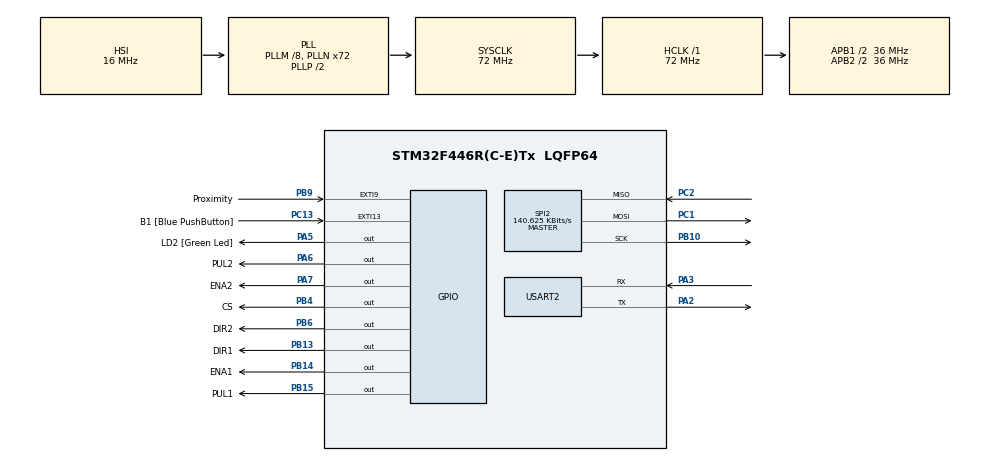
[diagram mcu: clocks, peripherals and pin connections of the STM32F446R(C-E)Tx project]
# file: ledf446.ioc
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Mcu.Family=STM32F4
Mcu.Name=STM32F446R(C-E)Tx
Mcu.Package=LQFP64
NVIC.EXTI9_5_IRQn=true\:0\:0\:false\:false\:true\:true\:true\:true
NVIC.PriorityGroup=NVIC_PRIORITYGROUP_0
PA13.GPIO_Label=TMS
PA13.Mode=Serial_Wire
PA13.Signal=SYS_JTMS-SWDIO
PA14.GPIO_Label=TCK
PA14.Mode=Serial_Wire
PA14.Signal=SYS_JTCK-SWCLK
PA2.Mode=Asynchronous
PA2.Signal=USART2_TX
PA3.Mode=Asynchronous
PA3.Signal=USART2_RX
PA5.GPIO_Label=LD2 [Green Led]
PA5.Signal=GPIO_Output
PA6.GPIO_Label=PUL2
PA6.Signal=GPIO_Output
PA7.GPIO_Label=ENA2
PA7.Signal=GPIO_Output
PB10.Mode=Full_Duplex_Master
PB10.Signal=SPI2_SCK
PB13.GPIO_Label=DIR1
PB13.Signal=GPIO_Output
PB14.GPIO_Label=ENA1
PB14.Signal=GPIO_Output
PB15.GPIO_Label=PUL1
PB15.Signal=GPIO_Output
PB3.GPIO_Label=SWO
PB3.Signal=SYS_JTDO-SWO
PB4.GPIO_Label=CS
PB4.Signal=GPIO_Output
PB6.GPIO_Label=DIR2
PB6.Signal=GPIO_Output
PB9.GPIO_Label=Proximity
PB9.GPIO_ModeDefaultEXTI=GPIO_MODE_IT_FALLING
PB9.Signal=GPXTI9
PC1.Mode=Full_Duplex_Master
PC1.Signal=SPI2_MOSI
PC13.GPIO_Label=B1 [Blue PushButton]
PC13.GPIO_ModeDefaultEXTI=GPIO_MODE_IT_FALLING
PC13.Signal=GPXTI13
PC14-OSC32_IN.Signal=RCC_OSC32_IN
PC15-OSC32_OUT.Signal=RCC_OSC32_OUT
PC2.Mode=Full_Duplex_Master
PC2.Signal=SPI2_MISO
PH0-OSC_IN.Mode=HSE-External-Oscillator
PH0-OSC_IN.Signal=RCC_OSC_IN
PH1-OSC_OUT.Mode=HSE-External-Oscillator
PH1-OSC_OUT.Signal=RCC_OSC_OUT
ProjectManager.HeapSize=0x200
ProjectManager.StackSize=0x400
ProjectManager.TargetToolchain=STM32CubeIDE
RCC.48MHZClocksFreq_Value=84000000
RCC.AHBFreq_Value=72000000
RCC.APB1CLKDivider=RCC_HCLK_DIV2
RCC.APB1Freq_Value=36000000
RCC.APB1TimFreq_Value=72000000
RCC.APB2CLKDivider=RCC_HCLK_DIV2
RCC.APB2Freq_Value=36000000
RCC.APB2TimFreq_Value=72000000
RCC.CortexFreq_Value=72000000
RCC.FLatency-AdvancedSettings=FLASH_LATENCY_2
RCC.HCLKFreq_Value=72000000
RCC.HSE_VALUE=8000000
RCC.HSI_VALUE=16000000
RCC.PLLM=8
RCC.PLLN=72
RCC.SYSCLKFreq_VALUE=72000000
RCC.SYSCLKSource=RCC_SYSCLKSOURCE_PLLCLK
RCC.USBFreq_Value=72000000
RCC.VCOOutputFreq_Value=144000000
SPI2.BaudRatePrescaler=SPI_BAUDRATEPRESCALER_256
SPI2.CalculateBaudRate=140.625 KBits/s
SPI2.Direction=SPI_DIRECTION_2LINES
SPI2.Mode=SPI_MODE_MASTER
SPI2.VirtualType=VM_MASTER
TIM1.Period=0xffff-1
TIM1.Prescaler=72-1
USART2.VirtualMode=VM_ASYNC
VP_TIM1_VS_ClockSourceINT.Mode=Internal
board=NUCLEO-F446RE

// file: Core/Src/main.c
/* USER CODE BEGIN Header */
/**
  ******************************************************************************
  * @file           : main.c
  * @brief          : Main program body
  ******************************************************************************
  * @attention
  *
  * Copyright (c) 2024 STMicroelectronics.
  * All rights reserved.
  *
  * This software is licensed under terms that can be found in the LICENSE file
  * in the root directory of this software component.
  * If no LICENSE file comes with this software, it is provided AS-IS.
  *
  ******************************************************************************
  */
/* USER CODE END Header */
#include "main.h"

/* USER CODE BEGIN Includes */
#include <string.h>
#include <stdbool.h>
#include <stdio.h>
#include "socket.h"
#include "dhcp.h"
#include "math.h"
#include "stdlib.h"
/* USER CODE END Includes */

SPI_HandleTypeDef hspi2;

TIM_HandleTypeDef htim1;

UART_HandleTypeDef huart2;

/* USER CODE BEGIN PV */
volatile bool stepperExecuted = false;
/* USER CODE END PV */

void SystemClock_Config(void);
static void MX_GPIO_Init(void);
static void MX_SPI2_Init(void);
static void MX_TIM1_Init(void);
static void MX_USART2_UART_Init(void);

/* USER CODE BEGIN 0 */
#define DHCP_SOCKET     0
#define DNS_SOCKET      1
#define SOCK_TCPS       0
#define SOCK_UDPS       1
#define PORT_TCPS       80
#define PORT_UDPS       3000

uint8_t socknumlist[] = {2, 3, 4, 5, 6, 7};
uint8_t RX_BUF[1024];
uint8_t TX_BUF[1024];
char tcp_rx_buffer[100]; // Buffer for received TCP data
char uart_tx_buffer[100]; // Buffer for UART transmission
char ok[100];
/*
wiz_NetInfo net_info = {
    .mac  = { 0xDE, 0xAD, 0xBE, 0xEF, 0xFE, 0xED },
    .dhcp = NETINFO_DHCP
};
*/

int flag = 0;

wiz_NetInfo net_info = {
		.mac = { 0xDE, 0xAD, 0xBE, 0xEF, 0xFE, 0xED },//MSB - LSB
		.ip ={ 192, 168, 100, 153 },
		.sn = { 255, 255, 255, 0 },
		.gw ={ 192, 168, 100, 1 },
		.dns = { 1, 1, 1, 1 },
		.dhcp = NETINFO_STATIC };

void wizchipSelect(void) {
    HAL_GPIO_WritePin(GPIOB, GPIO_PIN_4, GPIO_PIN_RESET);
}

void wizchipUnselect(void) {
    HAL_GPIO_WritePin(GPIOB, GPIO_PIN_4, GPIO_PIN_SET);
}

void wizchipReadBurst(uint8_t* buff, uint16_t len) {
    HAL_SPI_Receive(&hspi2, buff, len, HAL_MAX_DELAY);
}

void wizchipWriteBurst(uint8_t* buff, uint16_t len) {
    HAL_SPI_Transmit(&hspi2, buff, len, HAL_MAX_DELAY);
}

uint8_t wizchipReadByte(void) {
    uint8_t byte;
    wizchipReadBurst(&byte, sizeof(byte));
    return byte;
}

void wizchipWriteByte(uint8_t byte) {
    wizchipWriteBurst(&byte, sizeof(byte));
}

volatile bool ip_assigned = false;

void Callback_IPAssigned(void) {
    ip_assigned = true;
    HAL_GPIO_WritePin(LD2_GPIO_Port, LD2_Pin, RESET);
    starter();

}

void Callback_IPConflict(void) {
    ip_assigned = false;

}

uint8_t dhcp_buffer[1024];
uint8_t dns_buffer[1024];

void HAL_GPIO_EXTI_Callback(uint16_t GPIO_Pin){
	if(GPIO_Pin == GPIO_PIN_9) {
	    flag = 1;
	  }

}

void delay_us (uint16_t us)
{
	__HAL_TIM_SET_COUNTER(&htim1,0);  // set the counter value a 0
	while (__HAL_TIM_GET_COUNTER(&htim1) < us);  // wait for the counter to reach the us input in the parameter
}

void W5500Init() {
	HAL_GPIO_WritePin(LD2_GPIO_Port, LD2_Pin, 1);
	HAL_Delay(100);
	HAL_GPIO_WritePin(LD2_GPIO_Port, LD2_Pin, 0);
    // Register W5500 callbacks
    reg_wizchip_cs_cbfunc(wizchipSelect, wizchipUnselect);
    reg_wizchip_spi_cbfunc(wizchipReadByte, wizchipWriteByte);
    reg_wizchip_spiburst_cbfunc(wizchipReadBurst, wizchipWriteBurst);

    uint8_t rx_tx_buff_sizes[] = {2, 2, 2, 2, 2, 2, 2, 2};
    wizchip_init(rx_tx_buff_sizes, rx_tx_buff_sizes);

    // set MAC address before using DHCP
    setSHAR(net_info.mac);
    DHCP_init(DHCP_SOCKET, dhcp_buffer);

    reg_dhcp_cbfunc(
        Callback_IPAssigned,
        Callback_IPAssigned,
        Callback_IPConflict
    );

    uint32_t ctr = 100;
    while((!ip_assigned) && (ctr > 0)) {
        DHCP_run();
        ctr--;
    }
    if(ip_assigned == false) {
    	NVIC_SystemReset();
    }
/*
    getIPfromDHCP(net_info.ip);
    getGWfromDHCP(net_info.gw);
    getSNfromDHCP(net_info.sn);
*/
//    char charData[200]; // Data holder
//    sprintf(charData,"IP:  %d.%d.%d.%d\r\nGW:  %d.%d.%d.%d\r\nNet: %d.%d.%d.%d\r\n",
//        net_info.ip[0], net_info.ip[1], net_info.ip[2], net_info.ip[3],
//        net_info.gw[0], net_info.gw[1], net_info.gw[2], net_info.gw[3],
//        net_info.sn[0], net_info.sn[1], net_info.sn[2], net_info.sn[3]
//    );
//    HAL_UART_Transmit(&huart1,(uint8_t *)charData,strlen(charData),1000);

    wizchip_setnetinfo(&net_info);
}

void forward_tcp_to_uart(int socket_fd) {
    static int current_x = 0; // Cumulative x value, starts at 0

    int16_t received_length = recv(socket_fd, (uint8_t *)tcp_rx_buffer, sizeof(tcp_rx_buffer));
    if (received_length > 0) {
        tcp_rx_buffer[received_length] = '\0'; // Null-terminate the string

        // Parse the received string (assumed format: x,y)
        int x, y;
        if (sscanf((char*)tcp_rx_buffer, "%d,%d", &x, &y) == 2) {
            // Convert x and y values
            x = x / 0.05625;
            y = y / 0.05625 * 3;

            // Adjust x to ensure it stays within 0-360
            int new_x = current_x + x;
            if (new_x > 6400) {
                x -= (new_x - 6400); // Reduce x to keep total at 360
            } else if (new_x < 0) {
                x -= new_x; // Adjust x to keep total at 0
            }

            // Update the cumulative x value
            current_x += x;
            int printedx = x * 0.05625;
            int printedy = y * 0.05625 / 3;

            // Print the adjusted x value
            sprintf(uart_tx_buffer, "x: %d\r\ny: %d\r\n", printedx, printedy);
            HAL_UART_Transmit(&huart2, (uint8_t *)uart_tx_buffer, strlen(uart_tx_buffer), HAL_MAX_DELAY);

            reset_stepper_flag();

            // Execute motor control for x
            if (x < 0) {
                Xsteppermotorccw((int)abs(x));
            } else if (x > 0) {
                Xsteppermotorcw((int)abs(x));
            }

            // Process y value
            if (y < 0) {
                Ysteppermotorccw((int)abs(y));
            } else if (y > 0) {
                Ysteppermotorcw((int)abs(y));
            }

            if (!stepperExecuted) {
                stepperExecuted = true; // Mark as executed
            }
        } else {
            // If parsing fails, send an error message
            sprintf(uart_tx_buffer, "Invalid data format\r\n");
            HAL_UART_Transmit(&huart2, (uint8_t *)uart_tx_buffer, strlen(uart_tx_buffer), HAL_MAX_DELAY);
        }
        sprintf(ok, "Ready to excecute next command\n\r");
        HAL_UART_Transmit(&huart2, (uint8_t *)ok, strlen(ok), HAL_MAX_DELAY);
    }
}

// Main loop to process TCP and forward data
void process_tcp_server(int socket_fd) {
	 while (1) {
	        // Check for any new connections or data
	        if (getSn_SR(socket_fd) == SOCK_ESTABLISHED) {
	            forward_tcp_to_uart(socket_fd);
	        } else if (getSn_SR(socket_fd) == SOCK_CLOSE_WAIT) {
	            disconnect(socket_fd);
	            close(socket_fd);
	            break;
	        }
	    }
}
void reset_stepper_flag(void) {
    stepperExecuted = false;
}

void starter (void){

	for (int i=0; i<6400; i++)
	   {
		 HAL_GPIO_WritePin (DIR2_GPIO_Port, DIR2_Pin, RESET);
	     HAL_GPIO_WritePin (ENA2_GPIO_Port, ENA2_Pin, SET);
	     HAL_GPIO_WritePin (PUL2_GPIO_Port, PUL2_Pin, SET);
	     delay_us(150);
	     HAL_GPIO_WritePin (PUL2_GPIO_Port, PUL2_Pin, RESET);
	     HAL_GPIO_WritePin (ENA2_GPIO_Port, ENA2_Pin, RESET);
	     delay_us(150);
	}

	for (int i=0; i<6400; i++)
	   {
		 HAL_GPIO_WritePin (DIR1_GPIO_Port, DIR1_Pin, RESET);
	     HAL_GPIO_WritePin (ENA1_GPIO_Port, ENA1_Pin, SET);
	     HAL_GPIO_WritePin (PUL1_GPIO_Port, PUL1_Pin, SET);
	     delay_us(300);
	     HAL_GPIO_WritePin (PUL1_GPIO_Port, PUL1_Pin, RESET);
	     HAL_GPIO_WritePin (ENA1_GPIO_Port, ENA1_Pin, RESET);
	     delay_us(300);
			if (flag == 1){
				flag = 0;
				break;
			}
	}

}

void Xsteppermotorcw(x){

	for (int i=0; i<x; i++)
	   {
		 HAL_GPIO_WritePin (DIR1_GPIO_Port, DIR1_Pin, SET);
	     HAL_GPIO_WritePin (ENA1_GPIO_Port, ENA1_Pin, SET);
	     HAL_GPIO_WritePin (PUL1_GPIO_Port, PUL1_Pin, SET);
	     delay_us(300);
	     HAL_GPIO_WritePin (PUL1_GPIO_Port, PUL1_Pin, RESET);
	     HAL_GPIO_WritePin (ENA1_GPIO_Port, ENA1_Pin, RESET);
	     delay_us(300);
			}
	}

void Ysteppermotorcw(y){

	for (int i=0; i<y; i++)
	   {
		 HAL_GPIO_WritePin (DIR2_GPIO_Port, DIR2_Pin, SET);
	     HAL_GPIO_WritePin (ENA2_GPIO_Port, ENA2_Pin, SET);
	     HAL_GPIO_WritePin (PUL2_GPIO_Port, PUL2_Pin, SET);
	     delay_us(150);
	     HAL_GPIO_WritePin (PUL2_GPIO_Port, PUL2_Pin, RESET);
	     HAL_GPIO_WritePin (ENA2_GPIO_Port, ENA2_Pin, RESET);
	     delay_us(150);
	}

}

void Xsteppermotorccw(x){

	for (int i=0; i<x; i++)
	   {
		 HAL_GPIO_WritePin (DIR1_GPIO_Port, DIR1_Pin, RESET);
	     HAL_GPIO_WritePin (ENA1_GPIO_Port, ENA1_Pin, SET);
	     HAL_GPIO_WritePin (PUL1_GPIO_Port, PUL1_Pin, SET);
	     delay_us(300);
	     HAL_GPIO_WritePin (PUL1_GPIO_Port, PUL1_Pin, RESET);
	     HAL_GPIO_WritePin (ENA1_GPIO_Port, ENA1_Pin, RESET);
	     delay_us(300);
	}
}

void Ysteppermotorccw(y){
	for (int i=0; i<y; i++)
	   {
		 HAL_GPIO_WritePin (DIR2_GPIO_Port, DIR2_Pin, RESET);
	     HAL_GPIO_WritePin (ENA2_GPIO_Port, ENA2_Pin, SET);
	     HAL_GPIO_WritePin (PUL2_GPIO_Port, PUL2_Pin, SET);
	     delay_us(150);
	     HAL_GPIO_WritePin (PUL2_GPIO_Port, PUL2_Pin, RESET);
	     HAL_GPIO_WritePin (ENA2_GPIO_Port, ENA2_Pin, RESET);
	     delay_us(150);
	}

}

/* USER CODE END 0 */

int main(void)
{

  /* MCU Configuration--------------------------------------------------------*/

  /* Reset of all peripherals, Initializes the Flash interface and the Systick. */
  HAL_Init();

  /* Configure the system clock */
  SystemClock_Config();

  /* Initialize all configured peripherals */
  MX_GPIO_Init();
  MX_SPI2_Init();
  MX_TIM1_Init();
  MX_USART2_UART_Init();
  /* USER CODE BEGIN 2 */
  HAL_TIM_Base_Start(&htim1);
  W5500Init();
  /* USER CODE END 2 */

  /* Infinite loop */
  while (1)
  {

    /* USER CODE BEGIN 3 */
	    int socket_fd = socket(SOCK_TCPS, Sn_MR_TCP, PORT_TCPS, 0);
	    if (socket_fd >= 0 && listen(socket_fd) == SOCK_OK) {
	        process_tcp_server(socket_fd);  // Process incoming TCP connections
	        close(socket_fd);              // Close socket when done
	    }
  }
  /* USER CODE END 3 */
}

void SystemClock_Config(void)
{
  RCC_OscInitTypeDef RCC_OscInitStruct = {0};
  RCC_ClkInitTypeDef RCC_ClkInitStruct = {0};

  /** Configure the main internal regulator output voltage
  */
  __HAL_RCC_PWR_CLK_ENABLE();
  __HAL_PWR_VOLTAGESCALING_CONFIG(PWR_REGULATOR_VOLTAGE_SCALE3);

  /** Initializes the RCC Oscillators according to the specified parameters
  * in the RCC_OscInitTypeDef structure.
  */
  RCC_OscInitStruct.OscillatorType = RCC_OSCILLATORTYPE_HSI;
  RCC_OscInitStruct.HSIState = RCC_HSI_ON;
  RCC_OscInitStruct.HSICalibrationValue = RCC_HSICALIBRATION_DEFAULT;
  RCC_OscInitStruct.PLL.PLLState = RCC_PLL_ON;
  RCC_OscInitStruct.PLL.PLLSource = RCC_PLLSOURCE_HSI;
  RCC_OscInitStruct.PLL.PLLM = 8;
  RCC_OscInitStruct.PLL.PLLN = 72;
  RCC_OscInitStruct.PLL.PLLP = RCC_PLLP_DIV2;
  RCC_OscInitStruct.PLL.PLLQ = 2;
  RCC_OscInitStruct.PLL.PLLR = 2;
  if (HAL_RCC_OscConfig(&RCC_OscInitStruct) != HAL_OK)
  {
    Error_Handler();
  }

  /** Initializes the CPU, AHB and APB buses clocks
  */
  RCC_ClkInitStruct.ClockType = RCC_CLOCKTYPE_HCLK|RCC_CLOCKTYPE_SYSCLK
                              |RCC_CLOCKTYPE_PCLK1|RCC_CLOCKTYPE_PCLK2;
  RCC_ClkInitStruct.SYSCLKSource = RCC_SYSCLKSOURCE_PLLCLK;
  RCC_ClkInitStruct.AHBCLKDivider = RCC_SYSCLK_DIV1;
  RCC_ClkInitStruct.APB1CLKDivider = RCC_HCLK_DIV2;
  RCC_ClkInitStruct.APB2CLKDivider = RCC_HCLK_DIV2;

  if (HAL_RCC_ClockConfig(&RCC_ClkInitStruct, FLASH_LATENCY_2) != HAL_OK)
  {
    Error_Handler();
  }
}

static void MX_SPI2_Init(void)
{

  /* SPI2 parameter configuration*/
  hspi2.Instance = SPI2;
  hspi2.Init.Mode = SPI_MODE_MASTER;
  hspi2.Init.Direction = SPI_DIRECTION_2LINES;
  hspi2.Init.DataSize = SPI_DATASIZE_8BIT;
  hspi2.Init.CLKPolarity = SPI_POLARITY_LOW;
  hspi2.Init.CLKPhase = SPI_PHASE_1EDGE;
  hspi2.Init.NSS = SPI_NSS_SOFT;
  hspi2.Init.BaudRatePrescaler = SPI_BAUDRATEPRESCALER_256;
  hspi2.Init.FirstBit = SPI_FIRSTBIT_MSB;
  hspi2.Init.TIMode = SPI_TIMODE_DISABLE;
  hspi2.Init.CRCCalculation = SPI_CRCCALCULATION_DISABLE;
  hspi2.Init.CRCPolynomial = 10;
  if (HAL_SPI_Init(&hspi2) != HAL_OK)
  {
    Error_Handler();
  }

}

static void MX_TIM1_Init(void)
{

  TIM_ClockConfigTypeDef sClockSourceConfig = {0};
  TIM_MasterConfigTypeDef sMasterConfig = {0};

  htim1.Instance = TIM1;
  htim1.Init.Prescaler = 72-1;
  htim1.Init.CounterMode = TIM_COUNTERMODE_UP;
  htim1.Init.Period = 0xffff-1;
  htim1.Init.ClockDivision = TIM_CLOCKDIVISION_DIV1;
  htim1.Init.RepetitionCounter = 0;
  htim1.Init.AutoReloadPreload = TIM_AUTORELOAD_PRELOAD_DISABLE;
  if (HAL_TIM_Base_Init(&htim1) != HAL_OK)
  {
    Error_Handler();
  }
  sClockSourceConfig.ClockSource = TIM_CLOCKSOURCE_INTERNAL;
  if (HAL_TIM_ConfigClockSource(&htim1, &sClockSourceConfig) != HAL_OK)
  {
    Error_Handler();
  }
  sMasterConfig.MasterOutputTrigger = TIM_TRGO_RESET;
  sMasterConfig.MasterSlaveMode = TIM_MASTERSLAVEMODE_DISABLE;
  if (HAL_TIMEx_MasterConfigSynchronization(&htim1, &sMasterConfig) != HAL_OK)
  {
    Error_Handler();
  }

}

static void MX_USART2_UART_Init(void)
{

  huart2.Instance = USART2;
  huart2.Init.BaudRate = 115200;
  huart2.Init.WordLength = UART_WORDLENGTH_8B;
  huart2.Init.StopBits = UART_STOPBITS_1;
  huart2.Init.Parity = UART_PARITY_NONE;
  huart2.Init.Mode = UART_MODE_TX_RX;
  huart2.Init.HwFlowCtl = UART_HWCONTROL_NONE;
  huart2.Init.OverSampling = UART_OVERSAMPLING_16;
  if (HAL_UART_Init(&huart2) != HAL_OK)
  {
    Error_Handler();
  }

}

static void MX_GPIO_Init(void)
{
  GPIO_InitTypeDef GPIO_InitStruct = {0};

  /* GPIO Ports Clock Enable */
  __HAL_RCC_GPIOC_CLK_ENABLE();
  __HAL_RCC_GPIOH_CLK_ENABLE();
  __HAL_RCC_GPIOA_CLK_ENABLE();
  __HAL_RCC_GPIOB_CLK_ENABLE();

  /*Configure GPIO pin Output Level */
  HAL_GPIO_WritePin(GPIOA, LD2_Pin|PUL2_Pin|ENA2_Pin, GPIO_PIN_RESET);

  /*Configure GPIO pin Output Level */
  HAL_GPIO_WritePin(GPIOB, DIR1_Pin|ENA1_Pin|PUL1_Pin|CS_Pin
                          |DIR2_Pin, GPIO_PIN_RESET);

  /*Configure GPIO pin : B1_Pin */
  GPIO_InitStruct.Pin = B1_Pin;
  GPIO_InitStruct.Mode = GPIO_MODE_IT_FALLING;
  GPIO_InitStruct.Pull = GPIO_NOPULL;
  HAL_GPIO_Init(B1_GPIO_Port, &GPIO_InitStruct);

  /*Configure GPIO pins : LD2_Pin PUL2_Pin ENA2_Pin */
  GPIO_InitStruct.Pin = LD2_Pin|PUL2_Pin|ENA2_Pin;
  GPIO_InitStruct.Mode = GPIO_MODE_OUTPUT_PP;
  GPIO_InitStruct.Pull = GPIO_NOPULL;
  GPIO_InitStruct.Speed = GPIO_SPEED_FREQ_LOW;
  HAL_GPIO_Init(GPIOA, &GPIO_InitStruct);

  /*Configure GPIO pins : DIR1_Pin ENA1_Pin PUL1_Pin CS_Pin
                           DIR2_Pin */
  GPIO_InitStruct.Pin = DIR1_Pin|ENA1_Pin|PUL1_Pin|CS_Pin
                          |DIR2_Pin;
  GPIO_InitStruct.Mode = GPIO_MODE_OUTPUT_PP;
  GPIO_InitStruct.Pull = GPIO_NOPULL;
  GPIO_InitStruct.Speed = GPIO_SPEED_FREQ_LOW;
  HAL_GPIO_Init(GPIOB, &GPIO_InitStruct);

  /*Configure GPIO pin : Proximity_Pin */
  GPIO_InitStruct.Pin = Proximity_Pin;
  GPIO_InitStruct.Mode = GPIO_MODE_IT_FALLING;
  GPIO_InitStruct.Pull = GPIO_NOPULL;
  HAL_GPIO_Init(Proximity_GPIO_Port, &GPIO_InitStruct);

  /* EXTI interrupt init*/
  HAL_NVIC_SetPriority(EXTI9_5_IRQn, 0, 0);
  HAL_NVIC_EnableIRQ(EXTI9_5_IRQn);

}

void Error_Handler(void)
{
  __disable_irq();
  while (1)
  {
  }
}
